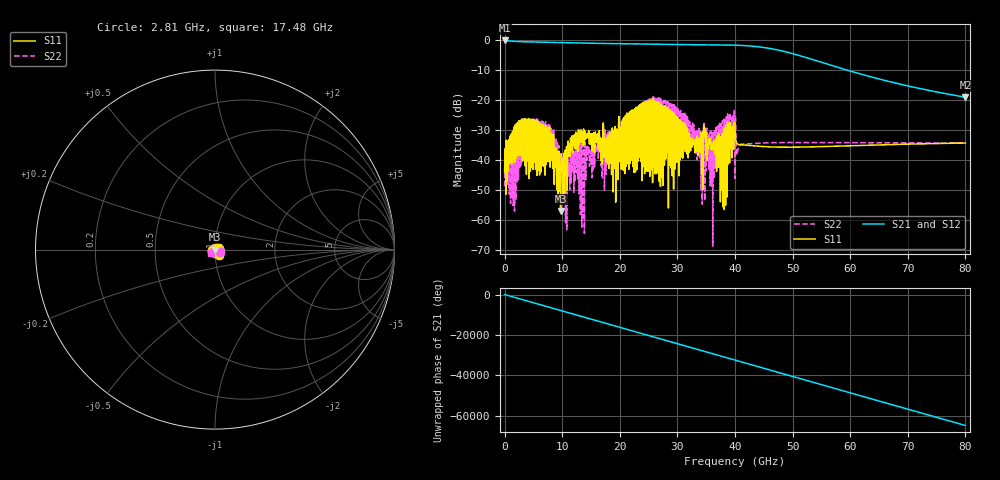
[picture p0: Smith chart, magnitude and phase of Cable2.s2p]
# Hz S DB R 50
!Touchstone multiport model file <C:\work\PySI\TestSignalIntegrity\OysterSimulation\ResampledSimbeor\Cable2_resampled.s2p>
!Created on 22 Aug 18, at 17:55:28.
!Created with Simbeor THz 2018.01(64bit) of Simberian Inc. built on Jul 20 2018
!Output from MultiportParameters of Simbeor.
!Multiport parameters: DataOrigin=Simulation DataOriginName="Project(1).Cable2_resampled_resampled.LNS"
!RESAMPLED_RCM: Max_RMS_Error=0.00476597; FrqLow=0; FrqHigh=4e+10; MaxTimeResolution=1.25e-11; PassivityState=1; ReciprocityState=1;
!RATIONAL COMPACTOR: Precision: Normal; Extract Delay: ON; Extrapolate to DC: ON; Extrapolate to Infinity: OFF; Enforce Passivity: ON; Enforce Reciprocity: ON; Band Limit Factor: 1; Auto-Adjust Config: OFF
!Uncomment the following lines with keywords in square brakets to support IBIS forum specification 2.0.
![Version] 2.0 !This line should be the first in file, preceeding the line starting with #.
![Number of Ports] 2
![Number of Frequencies] 8001
![Two-Port Data Order] 21_12
![Reference] 50 50
!!!!Multiport descriptor profile: InputCount=2 TotalPortCount=2
!DescriptorOutline={DescriptorType=SMatrix InputSpace=Terminal NormalizationType=CommonZo NormalizationCommonZo=50 Ohm OutputFormat=DBMagnitudeAngle}
!InputProfile={Name="IO1" IsTLineInput=False InputNumber=1 PortCount=1 FirstPortNumber=1 InputSpace=Terminal BlockType=SBlock NormalizationType=CommonZo Zo=50}
!InputProfile={Name="IO2" IsTLineInput=False InputNumber=2 PortCount=1 FirstPortNumber=2 InputSpace=Terminal BlockType=SBlock NormalizationType=CommonZo Zo=50}
!!!Global port number to input_name/local_port_number correspondence:
!Port 1 -> "IO1"/local_port_1 (terminal)
!Port 2 -> "IO2"/local_port_1 (terminal)
!!!!End of descriptor profile.
!Frequency Hz 20.0*log(|S[1,1]|) arg(S[1,1]) 20.0*log(|S[2,1]|) arg(S[2,1]) 20.0*log(|S[1,2]|) arg(S[1,2]) 20.0*log(|S[2,2]|) arg(S[2,2])
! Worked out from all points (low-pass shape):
!   8000 points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, 10 MHz to 80 GHz, reference 50 ohm
!   highest |S21| = -0.04 dB at 10 MHz (marker M1); lowest = -19.0 dB at 80 GHz (marker M2)
!   |S21| within 3 dB of the highest: start of sweep to 46.95 GHz
!   lowest |S11| = -57.1 dB at 9.73 GHz (marker M3), VSWR 1.00, Z = 50.1 - j0.0766 ohm
!   |S11| at or under -10 dB: start of sweep to end of sweep
!   |S22| runs from -68.9 to -18.8 dB; largest |S21 - S12| = 1.7e-14
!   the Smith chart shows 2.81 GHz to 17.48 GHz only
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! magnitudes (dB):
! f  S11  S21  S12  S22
! 10 MHz  -44.2  0.0  0.0  -48.8
! 400 MHz  -45.7  -0.1  -0.1  -45.0
! 2.19 GHz  -38.5  -0.4  -0.4  -47.3
! 4.94 GHz  -43.2  -0.5  -0.5  -36.7
! 7.92 GHz  -40.7  -0.7  -0.7  -37.9
! 9.73 GHz  -57.1  -0.8  -0.8  -43.8
! 10.95 GHz  -35.7  -0.8  -0.8  -37.6
! 13.35 GHz  -32.7  -0.9  -0.9  -38.3
! 18.22 GHz  -31.1  -1.1  -1.1  -31.5
! 23.41 GHz  -37.2  -1.2  -1.2  -28.9
! 26.68 GHz  -22.0  -1.3  -1.3  -21.1
! 31.62 GHz  -38.0  -1.4  -1.4  -33.1
! 34.17 GHz  -37.1  -1.5  -1.5  -35.0
! 34.96 GHz  -34.2  -1.5  -1.5  -37.6
! 36.02 GHz  -34.7  -1.5  -1.5  -30.5
! 37.8 GHz  -31.2  -1.5  -1.5  -27.2
! 38.85 GHz  -37.9  -1.6  -1.6  -31.8
! 40.01 GHz  -30.4  -1.6  -1.6  -38.1
! 40.62 GHz  -34.9  -1.7  -1.7  -35.6
! 53.34 GHz  -35.7  -6.3  -6.3  -34.2
! 66.67 GHz  -34.9  -13.7  -13.7  -34.3
! 80 GHz  -34.4  -19.0  -19.0  -34.3
